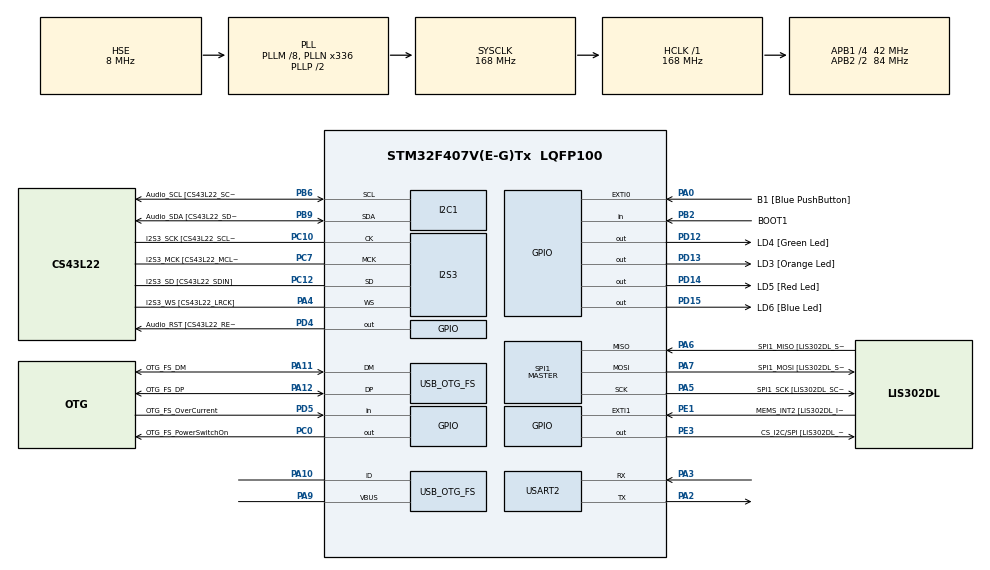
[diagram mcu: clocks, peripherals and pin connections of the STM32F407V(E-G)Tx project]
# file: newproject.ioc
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FREERTOS.Tasks01=defaultTask,24,128,StartDefaultTask,Default,NULL,Dynamic,NULL,NULL
I2S3.AudioFreq-Half_Duplex_Master=I2S_AUDIOFREQ_96K
I2S3.ErrorAudioFreq=-2.34 %
I2S3.ErrorAudioFreq-Half_Duplex_Master=0.8 %
I2S3.FullDuplexMode=I2S_FULLDUPLEXMODE_DISABLE
I2S3.Instance=SPI$Index
I2S3.RealAudioFreq=93.75 KHz
I2S3.RealAudioFreq-Half_Duplex_Master=96.774 KHz
I2S3.VirtualMode=I2S_MODE_MASTER
Mcu.Family=STM32F4
Mcu.Name=STM32F407V(E-G)Tx
Mcu.Package=LQFP100
NVIC.PriorityGroup=NVIC_PRIORITYGROUP_4
NVIC.TIM8_TRG_COM_TIM14_IRQn=true\:15\:0\:false\:false\:true\:false\:false\:true\:true
NVIC.TimeBase=TIM8_TRG_COM_TIM14_IRQn
NVIC.TimeBaseIP=TIM14
PA0-WKUP.GPIO_Label=B1 [Blue PushButton]
PA0-WKUP.GPIO_ModeDefaultEXTI=GPIO_MODE_EVT_RISING
PA0-WKUP.GPIO_PuPd=GPIO_NOPULL
PA0-WKUP.Signal=GPXTI0
PA10.Mode=OTG/Dual_Role_Device
PA10.Signal=USB_OTG_FS_ID
PA11.GPIO_Label=OTG_FS_DM
PA11.GPIO_Mode=GPIO_MODE_AF_PP
PA11.GPIO_PuPd=GPIO_NOPULL
PA11.GPIO_Speed=GPIO_SPEED_FREQ_LOW
PA11.Mode=OTG/Dual_Role_Device
PA11.Signal=USB_OTG_FS_DM
PA12.GPIO_Label=OTG_FS_DP
PA12.GPIO_Mode=GPIO_MODE_AF_PP
PA12.GPIO_PuPd=GPIO_NOPULL
PA12.GPIO_Speed=GPIO_SPEED_FREQ_LOW
PA12.Mode=OTG/Dual_Role_Device
PA12.Signal=USB_OTG_FS_DP
PA13.GPIO_Label=SWDIO
PA13.Mode=Serial_Wire
PA13.Signal=SYS_JTMS-SWDIO
PA14.GPIO_Label=SWCLK
PA14.Mode=Serial_Wire
PA14.Signal=SYS_JTCK-SWCLK
PA2.Mode=Asynchronous
PA2.Signal=USART2_TX
PA3.Mode=Asynchronous
PA3.Signal=USART2_RX
PA4.GPIO_Label=I2S3_WS [CS43L22_LRCK]
PA4.GPIO_Mode=GPIO_MODE_AF_PP
PA4.GPIO_PuPd=GPIO_NOPULL
PA4.GPIO_Speed=GPIO_SPEED_FREQ_LOW
PA4.Mode=Half_Duplex_Master
PA4.Signal=I2S3_WS
PA5.GPIO_Label=SPI1_SCK [LIS302DL_SCL/SPC]
PA5.GPIO_Mode=GPIO_MODE_AF_PP
PA5.GPIO_PuPd=GPIO_NOPULL
PA5.GPIO_Speed=GPIO_SPEED_FREQ_LOW
PA5.Mode=Full_Duplex_Master
PA5.Signal=SPI1_SCK
PA6.GPIO_Label=SPI1_MISO [LIS302DL_SDO]
PA6.GPIO_Mode=GPIO_MODE_AF_PP
PA6.GPIO_PuPd=GPIO_NOPULL
PA6.GPIO_Speed=GPIO_SPEED_FREQ_LOW
PA6.Mode=Full_Duplex_Master
PA6.Signal=SPI1_MISO
PA7.GPIO_Label=SPI1_MOSI [LIS302DL_SDA/SDI/SDO]
PA7.GPIO_Mode=GPIO_MODE_AF_PP
PA7.GPIO_PuPd=GPIO_NOPULL
PA7.GPIO_Speed=GPIO_SPEED_FREQ_LOW
PA7.Mode=Full_Duplex_Master
PA7.Signal=SPI1_MOSI
PA9.Mode=Activate_VBUS
PA9.Signal=USB_OTG_FS_VBUS
PB10.GPIO_Label=CLK_IN [MP45DT02_CLK]
PB10.GPIO_Mode=GPIO_MODE_AF_PP
PB10.GPIO_PuPd=GPIO_NOPULL
PB10.GPIO_Speed=GPIO_SPEED_FREQ_LOW
PB10.Signal=I2S2_CK
PB2.GPIO_Label=BOOT1
PB2.GPIO_Mode=GPIO_MODE_INPUT
PB2.GPIO_PuPd=GPIO_NOPULL
PB2.Signal=GPIO_Input
PB3.GPIO_Label=SWO
PB3.Signal=SYS_JTDO-SWO
PB6.GPIO_Label=Audio_SCL [CS43L22_SCL]
PB6.GPIO_Mode=GPIO_MODE_AF_OD
PB6.GPIO_Pu=GPIO_PULLUP
PB6.GPIO_PuPd=GPIO_NOPULL
PB6.GPIO_Speed=GPIO_SPEED_FREQ_LOW
PB6.Mode=I2C
PB6.Signal=I2C1_SCL
PB9.GPIO_Label=Audio_SDA [CS43L22_SDA]
PB9.GPIO_Mode=GPIO_MODE_AF_OD
PB9.GPIO_Pu=GPIO_PULLUP
PB9.GPIO_PuPd=GPIO_NOPULL
PB9.GPIO_Speed=GPIO_SPEED_FREQ_LOW
PB9.Mode=I2C
PB9.Signal=I2C1_SDA
PC0.GPIO_Label=OTG_FS_PowerSwitchOn
PC0.GPIO_PuPd=GPIO_NOPULL
PC0.GPIO_Speed=GPIO_SPEED_FREQ_LOW
PC0.PinState=GPIO_PIN_SET
PC0.Signal=GPIO_Output
PC10.GPIO_Label=I2S3_SCK [CS43L22_SCLK]
PC10.GPIO_Mode=GPIO_MODE_AF_PP
PC10.GPIO_PuPd=GPIO_NOPULL
PC10.GPIO_Speed=GPIO_SPEED_FREQ_LOW
PC10.Mode=Half_Duplex_Master
PC10.Signal=I2S3_CK
PC12.GPIO_Label=I2S3_SD [CS43L22_SDIN]
PC12.GPIO_Mode=GPIO_MODE_AF_PP
PC12.GPIO_PuPd=GPIO_NOPULL
PC12.GPIO_Speed=GPIO_SPEED_FREQ_LOW
PC12.Mode=Half_Duplex_Master
PC12.Signal=I2S3_SD
PC14-OSC32_IN.GPIO_Label=PC14-OSC32_IN
PC14-OSC32_IN.Mode=LSE-External-Oscillator
PC14-OSC32_IN.Signal=RCC_OSC32_IN
PC15-OSC32_OUT.GPIO_Label=PC15-OSC32_OUT
PC15-OSC32_OUT.Mode=LSE-External-Oscillator
PC15-OSC32_OUT.Signal=RCC_OSC32_OUT
PC3.GPIO_Label=PDM_OUT [MP45DT02_DOUT]
PC3.GPIO_Mode=GPIO_MODE_AF_PP
PC3.GPIO_PuPd=GPIO_NOPULL
PC3.GPIO_Speed=GPIO_SPEED_FREQ_LOW
PC3.Signal=I2S2_SD
PC7.GPIO_Label=I2S3_MCK [CS43L22_MCLK]
PC7.GPIO_Mode=GPIO_MODE_AF_PP
PC7.GPIO_PuPd=GPIO_NOPULL
PC7.GPIO_Speed=GPIO_SPEED_FREQ_LOW
PC7.Mode=Master_Clock_Activated
PC7.Signal=I2S3_MCK
PD12.GPIO_Label=LD4 [Green Led]
PD12.GPIO_PuPd=GPIO_NOPULL
PD12.GPIO_Speed=GPIO_SPEED_FREQ_LOW
PD12.Signal=GPIO_Output
PD13.GPIO_Label=LD3 [Orange Led]
PD13.GPIO_PuPd=GPIO_NOPULL
PD13.GPIO_Speed=GPIO_SPEED_FREQ_LOW
PD13.Signal=GPIO_Output
PD14.GPIO_Label=LD5 [Red Led]
PD14.GPIO_PuPd=GPIO_NOPULL
PD14.GPIO_Speed=GPIO_SPEED_FREQ_LOW
PD14.Signal=GPIO_Output
PD15.GPIO_Label=LD6 [Blue Led]
PD15.GPIO_PuPd=GPIO_NOPULL
PD15.GPIO_Speed=GPIO_SPEED_FREQ_LOW
PD15.Signal=GPIO_Output
PD4.GPIO_Label=Audio_RST [CS43L22_RESET]
PD4.GPIO_PuPd=GPIO_NOPULL
PD4.GPIO_Speed=GPIO_SPEED_FREQ_LOW
PD4.Signal=GPIO_Output
PD5.GPIO_Label=OTG_FS_OverCurrent
PD5.GPIO_Mode=GPIO_MODE_INPUT
PD5.GPIO_PuPd=GPIO_NOPULL
PD5.Signal=GPIO_Input
PE1.GPIO_Label=MEMS_INT2 [LIS302DL_INT2]
PE1.GPIO_ModeDefaultEXTI=GPIO_MODE_EVT_RISING
PE1.GPIO_PuPd=GPIO_NOPULL
PE1.Signal=GPXTI1
PE3.GPIO_Label=CS_I2C/SPI [LIS302DL_CS_I2C/SPI]
PE3.GPIO_PuPd=GPIO_NOPULL
PE3.GPIO_Speed=GPIO_SPEED_FREQ_LOW
PE3.Signal=GPIO_Output
PH0-OSC_IN.GPIO_Label=PH0-OSC_IN
PH0-OSC_IN.Mode=HSE-External-Oscillator
PH0-OSC_IN.Signal=RCC_OSC_IN
PH1-OSC_OUT.GPIO_Label=PH1-OSC_OUT
PH1-OSC_OUT.Mode=HSE-External-Oscillator
PH1-OSC_OUT.Signal=RCC_OSC_OUT
ProjectManager.HeapSize=0x200
ProjectManager.StackSize=0x400
ProjectManager.TargetToolchain=STM32CubeIDE
RCC.48MHZClocksFreq_Value=48000000
RCC.AHBFreq_Value=168000000
RCC.APB1CLKDivider=RCC_HCLK_DIV4
RCC.APB1Freq_Value=42000000
RCC.APB1TimFreq_Value=84000000
RCC.APB2CLKDivider=RCC_HCLK_DIV2
RCC.APB2Freq_Value=84000000
RCC.APB2TimFreq_Value=168000000
RCC.CortexFreq_Value=168000000
RCC.HCLKFreq_Value=168000000
RCC.HSE_VALUE=8000000
RCC.HSI_VALUE=16000000
RCC.PLLM=8
RCC.PLLN=336
RCC.PLLQ=7
RCC.PLLSourceVirtual=RCC_PLLSOURCE_HSE
RCC.SYSCLKFreq_VALUE=168000000
RCC.SYSCLKSource=RCC_SYSCLKSOURCE_PLLCLK
RCC.VCOOutputFreq_Value=336000000
SPI1.BaudRatePrescaler-Full_Duplex_Master=SPI_BAUDRATEPRESCALER_2
SPI1.CalculateBaudRate-Full_Duplex_Master=42.0 MBits/s
SPI1.Direction=SPI_DIRECTION_2LINES
SPI1.Mode=SPI_MODE_MASTER
SPI1.Mode-Full_Duplex_Master=SPI_MODE_MASTER
SPI1.VirtualType=VM_MASTER
USART2.VirtualMode=VM_ASYNC
VP_FREERTOS_VS_CMSIS_V2.Mode=CMSIS_V2
VP_SYS_VS_tim14.Mode=TIM14
board=STM32F407G-DISC1

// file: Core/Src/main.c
/* USER CODE BEGIN Header */
/**
  ******************************************************************************
  * @file           : main.c
  * @brief          : Main program body
  ******************************************************************************
  * @attention
  *
  * Copyright (c) 2025 STMicroelectronics.
  * All rights reserved.
  *
  * This software is licensed under terms that can be found in the LICENSE file
  * in the root directory of this software component.
  * If no LICENSE file comes with this software, it is provided AS-IS.
  *
  ******************************************************************************
  */
/* USER CODE END Header */
#include "main.h"
#include "cmsis_os.h"

/* USER CODE BEGIN Includes */
#include "FreeRTOS.h"
#include "task.h"
#include <stdio.h>
/* USER CODE END Includes */

I2C_HandleTypeDef hi2c1;

I2S_HandleTypeDef hi2s3;

SPI_HandleTypeDef hspi1;

UART_HandleTypeDef huart2;

/* Definitions for defaultTask */
osThreadId_t defaultTaskHandle;
const osThreadAttr_t defaultTask_attributes = {
  .name = "defaultTask",
  .stack_size = 128 * 4,
  .priority = (osPriority_t) osPriorityNormal,
};
/* USER CODE BEGIN PV */

#define DWT_CTRL (*(volatile uint32_t *)0xE0001000)
/* USER CODE END PV */

void SystemClock_Config(void);
static void MX_GPIO_Init(void);
static void MX_I2C1_Init(void);
static void MX_I2S3_Init(void);
static void MX_SPI1_Init(void);
static void MX_USB_OTG_FS_USB_Init(void);
static void MX_USART2_UART_Init(void);
void StartDefaultTask(void *argument);

/* USER CODE BEGIN PFP */
static void led_green_handler(void *parameters);
static void led_orange_handler(void *parameters);
static void led_red_handler(void *parameters);
/* USER CODE END PFP */

int main(void)
{

  /* USER CODE BEGIN 1 */
	TaskHandle_t green_handle;
	TaskHandle_t orange_handle;
	TaskHandle_t red_handle;

	BaseType_t status;
  /* USER CODE END 1 */

  /* MCU Configuration--------------------------------------------------------*/

  /* Reset of all peripherals, Initializes the Flash interface and the Systick. */
  HAL_Init();

  /* Configure the system clock */
  SystemClock_Config();

  /* Initialize all configured peripherals */
  MX_GPIO_Init();
  MX_I2C1_Init();
  MX_I2S3_Init();
  MX_SPI1_Init();
  MX_USB_OTG_FS_USB_Init();
  MX_USART2_UART_Init();
  /* USER CODE BEGIN 2 */

  //EMABLE CYCLE COUNT

  DWT_CTRL |=(1<<0);

  SEGGER_UART_REC;
  SEGGER_SYSVIEW_Conf();
  //SEGGER_SYSVIEW_Start();
  status= xTaskCreate(led_green_handler, "Green led task", 200, NULL, 2, &green_handle);
  configASSERT(status= pdPASS);

  status= xTaskCreate(led_orange_handler, "Orange Led task", 200, NULL, 2, &orange_handle);
  configASSERT(status= pdPASS);

  status= xTaskCreate(led_red_handler, "Red Led task", 200, NULL, 2, &red_handle);
  configASSERT(status= pdPASS);
  /* USER CODE END 2 */

  /* Init scheduler */
  osKernelInitialize();

  /* Create the thread(s) */
  /* creation of defaultTask */
  //defaultTaskHandle = osThreadNew(StartDefaultTask, NULL, &defaultTask_attributes);

  /* Start scheduler */
  osKernelStart();

  /* We should never get here as control is now taken by the scheduler */

  /* Infinite loop */
  while (1)
  {

  }
}

void SystemClock_Config(void)
{
  RCC_OscInitTypeDef RCC_OscInitStruct = {0};
  RCC_ClkInitTypeDef RCC_ClkInitStruct = {0};

  /** Configure the main internal regulator output voltage
  */
  __HAL_RCC_PWR_CLK_ENABLE();
  __HAL_PWR_VOLTAGESCALING_CONFIG(PWR_REGULATOR_VOLTAGE_SCALE1);

  /** Initializes the RCC Oscillators according to the specified parameters
  * in the RCC_OscInitTypeDef structure.
  */
  RCC_OscInitStruct.OscillatorType = RCC_OSCILLATORTYPE_HSE;
  RCC_OscInitStruct.HSEState = RCC_HSE_ON;
  RCC_OscInitStruct.PLL.PLLState = RCC_PLL_ON;
  RCC_OscInitStruct.PLL.PLLSource = RCC_PLLSOURCE_HSE;
  RCC_OscInitStruct.PLL.PLLM = 8;
  RCC_OscInitStruct.PLL.PLLN = 336;
  RCC_OscInitStruct.PLL.PLLP = RCC_PLLP_DIV2;
  RCC_OscInitStruct.PLL.PLLQ = 7;
  if (HAL_RCC_OscConfig(&RCC_OscInitStruct) != HAL_OK)
  {
    Error_Handler();
  }

  /** Initializes the CPU, AHB and APB buses clocks
  */
  RCC_ClkInitStruct.ClockType = RCC_CLOCKTYPE_HCLK|RCC_CLOCKTYPE_SYSCLK
                              |RCC_CLOCKTYPE_PCLK1|RCC_CLOCKTYPE_PCLK2;
  RCC_ClkInitStruct.SYSCLKSource = RCC_SYSCLKSOURCE_PLLCLK;
  RCC_ClkInitStruct.AHBCLKDivider = RCC_SYSCLK_DIV1;
  RCC_ClkInitStruct.APB1CLKDivider = RCC_HCLK_DIV4;
  RCC_ClkInitStruct.APB2CLKDivider = RCC_HCLK_DIV2;

  if (HAL_RCC_ClockConfig(&RCC_ClkInitStruct, FLASH_LATENCY_5) != HAL_OK)
  {
    Error_Handler();
  }
}

static void MX_I2C1_Init(void)
{

  hi2c1.Instance = I2C1;
  hi2c1.Init.ClockSpeed = 100000;
  hi2c1.Init.DutyCycle = I2C_DUTYCYCLE_2;
  hi2c1.Init.OwnAddress1 = 0;
  hi2c1.Init.AddressingMode = I2C_ADDRESSINGMODE_7BIT;
  hi2c1.Init.DualAddressMode = I2C_DUALADDRESS_DISABLE;
  hi2c1.Init.OwnAddress2 = 0;
  hi2c1.Init.GeneralCallMode = I2C_GENERALCALL_DISABLE;
  hi2c1.Init.NoStretchMode = I2C_NOSTRETCH_DISABLE;
  if (HAL_I2C_Init(&hi2c1) != HAL_OK)
  {
    Error_Handler();
  }

}

static void MX_I2S3_Init(void)
{

  hi2s3.Instance = SPI3;
  hi2s3.Init.Mode = I2S_MODE_MASTER_TX;
  hi2s3.Init.Standard = I2S_STANDARD_PHILIPS;
  hi2s3.Init.DataFormat = I2S_DATAFORMAT_16B;
  hi2s3.Init.MCLKOutput = I2S_MCLKOUTPUT_ENABLE;
  hi2s3.Init.AudioFreq = I2S_AUDIOFREQ_96K;
  hi2s3.Init.CPOL = I2S_CPOL_LOW;
  hi2s3.Init.ClockSource = I2S_CLOCK_PLL;
  hi2s3.Init.FullDuplexMode = I2S_FULLDUPLEXMODE_DISABLE;
  if (HAL_I2S_Init(&hi2s3) != HAL_OK)
  {
    Error_Handler();
  }

}

static void MX_SPI1_Init(void)
{

  /* SPI1 parameter configuration*/
  hspi1.Instance = SPI1;
  hspi1.Init.Mode = SPI_MODE_MASTER;
  hspi1.Init.Direction = SPI_DIRECTION_2LINES;
  hspi1.Init.DataSize = SPI_DATASIZE_8BIT;
  hspi1.Init.CLKPolarity = SPI_POLARITY_LOW;
  hspi1.Init.CLKPhase = SPI_PHASE_1EDGE;
  hspi1.Init.NSS = SPI_NSS_SOFT;
  hspi1.Init.BaudRatePrescaler = SPI_BAUDRATEPRESCALER_2;
  hspi1.Init.FirstBit = SPI_FIRSTBIT_MSB;
  hspi1.Init.TIMode = SPI_TIMODE_DISABLE;
  hspi1.Init.CRCCalculation = SPI_CRCCALCULATION_DISABLE;
  hspi1.Init.CRCPolynomial = 10;
  if (HAL_SPI_Init(&hspi1) != HAL_OK)
  {
    Error_Handler();
  }

}

static void MX_USART2_UART_Init(void)
{

  huart2.Instance = USART2;
  huart2.Init.BaudRate = 115200;
  huart2.Init.WordLength = UART_WORDLENGTH_8B;
  huart2.Init.StopBits = UART_STOPBITS_1;
  huart2.Init.Parity = UART_PARITY_NONE;
  huart2.Init.Mode = UART_MODE_TX_RX;
  huart2.Init.HwFlowCtl = UART_HWCONTROL_NONE;
  huart2.Init.OverSampling = UART_OVERSAMPLING_16;
  if (HAL_UART_Init(&huart2) != HAL_OK)
  {
    Error_Handler();
  }

}

static void MX_USB_OTG_FS_USB_Init(void)
{

}

static void MX_GPIO_Init(void)
{
  GPIO_InitTypeDef GPIO_InitStruct = {0};

  /* GPIO Ports Clock Enable */
  __HAL_RCC_GPIOE_CLK_ENABLE();
  __HAL_RCC_GPIOC_CLK_ENABLE();
  __HAL_RCC_GPIOH_CLK_ENABLE();
  __HAL_RCC_GPIOA_CLK_ENABLE();
  __HAL_RCC_GPIOB_CLK_ENABLE();
  __HAL_RCC_GPIOD_CLK_ENABLE();

  /*Configure GPIO pin Output Level */
  HAL_GPIO_WritePin(CS_I2C_SPI_GPIO_Port, CS_I2C_SPI_Pin, GPIO_PIN_RESET);

  /*Configure GPIO pin Output Level */
  HAL_GPIO_WritePin(OTG_FS_PowerSwitchOn_GPIO_Port, OTG_FS_PowerSwitchOn_Pin, GPIO_PIN_SET);

  /*Configure GPIO pin Output Level */
  HAL_GPIO_WritePin(GPIOD, LD4_Pin|LD3_Pin|LD5_Pin|LD6_Pin
                          |Audio_RST_Pin, GPIO_PIN_RESET);

  /*Configure GPIO pin : CS_I2C_SPI_Pin */
  GPIO_InitStruct.Pin = CS_I2C_SPI_Pin;
  GPIO_InitStruct.Mode = GPIO_MODE_OUTPUT_PP;
  GPIO_InitStruct.Pull = GPIO_NOPULL;
  GPIO_InitStruct.Speed = GPIO_SPEED_FREQ_LOW;
  HAL_GPIO_Init(CS_I2C_SPI_GPIO_Port, &GPIO_InitStruct);

  /*Configure GPIO pin : OTG_FS_PowerSwitchOn_Pin */
  GPIO_InitStruct.Pin = OTG_FS_PowerSwitchOn_Pin;
  GPIO_InitStruct.Mode = GPIO_MODE_OUTPUT_PP;
  GPIO_InitStruct.Pull = GPIO_NOPULL;
  GPIO_InitStruct.Speed = GPIO_SPEED_FREQ_LOW;
  HAL_GPIO_Init(OTG_FS_PowerSwitchOn_GPIO_Port, &GPIO_InitStruct);

  /*Configure GPIO pin : PDM_OUT_Pin */
  GPIO_InitStruct.Pin = PDM_OUT_Pin;
  GPIO_InitStruct.Mode = GPIO_MODE_AF_PP;
  GPIO_InitStruct.Pull = GPIO_NOPULL;
  GPIO_InitStruct.Speed = GPIO_SPEED_FREQ_LOW;
  GPIO_InitStruct.Alternate = GPIO_AF5_SPI2;
  HAL_GPIO_Init(PDM_OUT_GPIO_Port, &GPIO_InitStruct);

  /*Configure GPIO pin : B1_Pin */
  GPIO_InitStruct.Pin = B1_Pin;
  GPIO_InitStruct.Mode = GPIO_MODE_EVT_RISING;
  GPIO_InitStruct.Pull = GPIO_NOPULL;
  HAL_GPIO_Init(B1_GPIO_Port, &GPIO_InitStruct);

  /*Configure GPIO pin : BOOT1_Pin */
  GPIO_InitStruct.Pin = BOOT1_Pin;
  GPIO_InitStruct.Mode = GPIO_MODE_INPUT;
  GPIO_InitStruct.Pull = GPIO_NOPULL;
  HAL_GPIO_Init(BOOT1_GPIO_Port, &GPIO_InitStruct);

  /*Configure GPIO pin : CLK_IN_Pin */
  GPIO_InitStruct.Pin = CLK_IN_Pin;
  GPIO_InitStruct.Mode = GPIO_MODE_AF_PP;
  GPIO_InitStruct.Pull = GPIO_NOPULL;
  GPIO_InitStruct.Speed = GPIO_SPEED_FREQ_LOW;
  GPIO_InitStruct.Alternate = GPIO_AF5_SPI2;
  HAL_GPIO_Init(CLK_IN_GPIO_Port, &GPIO_InitStruct);

  /*Configure GPIO pins : LD4_Pin LD3_Pin LD5_Pin LD6_Pin
                           Audio_RST_Pin */
  GPIO_InitStruct.Pin = LD4_Pin|LD3_Pin|LD5_Pin|LD6_Pin
                          |Audio_RST_Pin;
  GPIO_InitStruct.Mode = GPIO_MODE_OUTPUT_PP;
  GPIO_InitStruct.Pull = GPIO_NOPULL;
  GPIO_InitStruct.Speed = GPIO_SPEED_FREQ_LOW;
  HAL_GPIO_Init(GPIOD, &GPIO_InitStruct);

  /*Configure GPIO pin : PA9 */
  GPIO_InitStruct.Pin = GPIO_PIN_9;
  GPIO_InitStruct.Mode = GPIO_MODE_INPUT;
  GPIO_InitStruct.Pull = GPIO_NOPULL;
  HAL_GPIO_Init(GPIOA, &GPIO_InitStruct);

  /*Configure GPIO pin : PA10 */
  GPIO_InitStruct.Pin = GPIO_PIN_10;
  GPIO_InitStruct.Mode = GPIO_MODE_AF_PP;
  GPIO_InitStruct.Pull = GPIO_NOPULL;
  GPIO_InitStruct.Speed = GPIO_SPEED_FREQ_VERY_HIGH;
  GPIO_InitStruct.Alternate = GPIO_AF10_OTG_FS;
  HAL_GPIO_Init(GPIOA, &GPIO_InitStruct);

  /*Configure GPIO pins : OTG_FS_DM_Pin OTG_FS_DP_Pin */
  GPIO_InitStruct.Pin = OTG_FS_DM_Pin|OTG_FS_DP_Pin;
  GPIO_InitStruct.Mode = GPIO_MODE_AF_PP;
  GPIO_InitStruct.Pull = GPIO_NOPULL;
  GPIO_InitStruct.Speed = GPIO_SPEED_FREQ_LOW;
  GPIO_InitStruct.Alternate = GPIO_AF10_OTG_FS;
  HAL_GPIO_Init(GPIOA, &GPIO_InitStruct);

  /*Configure GPIO pin : OTG_FS_OverCurrent_Pin */
  GPIO_InitStruct.Pin = OTG_FS_OverCurrent_Pin;
  GPIO_InitStruct.Mode = GPIO_MODE_INPUT;
  GPIO_InitStruct.Pull = GPIO_NOPULL;
  HAL_GPIO_Init(OTG_FS_OverCurrent_GPIO_Port, &GPIO_InitStruct);

  /*Configure GPIO pin : MEMS_INT2_Pin */
  GPIO_InitStruct.Pin = MEMS_INT2_Pin;
  GPIO_InitStruct.Mode = GPIO_MODE_EVT_RISING;
  GPIO_InitStruct.Pull = GPIO_NOPULL;
  HAL_GPIO_Init(MEMS_INT2_GPIO_Port, &GPIO_InitStruct);

}

/* USER CODE BEGIN 4 */
static void led_green_handler(void *parameters)
{
	for (;;) {
		HAL_GPIO_TogglePin(LD4_GPIO_Port, LD4_Pin);
		HAL_Delay(1000);
		//taskYIELD();
	}

}
static void led_orange_handler(void *parameters)
{
	for (;;) {
		HAL_GPIO_TogglePin(LD3_GPIO_Port, LD3_Pin);
		HAL_Delay(800);
		//taskYIELD();
	}

}

static void led_red_handler ( void *parameters)
{
	for (;;) {
		HAL_GPIO_TogglePin(LD5_GPIO_Port, LD5_Pin);
		HAL_Delay(400);
		//taskYIELD();
	}
}
/* USER CODE END 4 */

void StartDefaultTask(void *argument)
{
  /* USER CODE BEGIN 5 */
  /* Infinite loop */
//  for(;;)
//  {
//    osDelay(1);
//  }
  /* USER CODE END 5 */
}

void HAL_TIM_PeriodElapsedCallback(TIM_HandleTypeDef *htim)
{
  if (htim->Instance == TIM14)
  {
    HAL_IncTick();
  }
}

void Error_Handler(void)
{
  __disable_irq();
  while (1)
  {
  }
}
